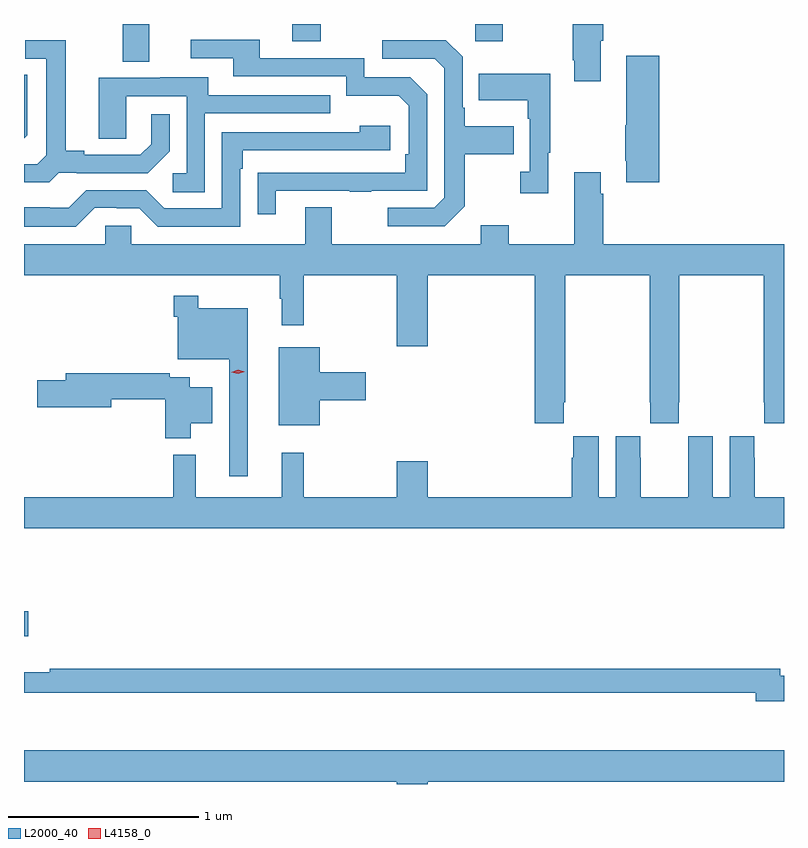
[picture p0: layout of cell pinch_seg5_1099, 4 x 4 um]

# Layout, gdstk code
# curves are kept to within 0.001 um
import gdstk
lib = gdstk.Library(unit=1e-6, precision=1e-09)
def R(c, l, rs):  # rectangles x0, y0, x1, y1
    for r in rs: c.add(gdstk.rectangle(r[:2], r[2:], *l))
def P(c, l, *ps):  # polygons
    for p in ps: c.add(gdstk.Polygon(p, *l))
L2000_40 = (2000, 40)
L4158_0 = (4158, 0)

pinch_seg5_1099 = lib.new_cell('pinch_seg5_1099')
R(pinch_seg5_1099, L2000_40, [(798.41,840.209,798.433,840.339), (798.929,843.232,799.069,843.431), (799.823,843.341,799.971,843.431), (800.784,843.341,800.931,843.431)])
P(pinch_seg5_1099, L2000_40, [(801.298,843.241),(801.305,843.241),(801.305,843.129),(801.445,843.129),(801.445,843.344),(801.458,843.344),(801.458,843.431),(801.298,843.431)],
  [(799.735,842.553),(800.125,842.553),(800.125,842.548),(800.237,842.548),(800.237,842.553),(800.532,842.553),(800.532,843.06),(800.442,843.15),(800.202,843.15),(800.202,843.252),(799.651,843.252),(799.651,843.348),(799.287,843.348),(799.287,843.252),(799.511,843.252),(799.511,843.156),(800.106,843.156),(800.106,843.053),(800.383,843.053),(800.436,843),(800.436,842.746),(800.416,842.746),(800.416,842.649),(799.639,842.648),(799.639,842.43),(799.735,842.43)],
  [(798.594,842.649),(798.688,842.649),(798.688,842.646),(799.06,842.646),(799.176,842.762),(799.176,842.956),(799.079,842.956),(799.079,842.799),(799.022,842.742),(798.727,842.742),(798.727,842.765),(798.631,842.765),(798.631,843.345),(798.417,843.345),(798.417,843.249),(798.527,843.249),(798.527,842.741),(798.48,842.694),(798.41,842.694),(798.41,842.597),(798.542,842.597)],
  [(800.731,842.473),(800.731,842.746),(800.987,842.746),(800.987,842.893),(800.731,842.893),(800.731,842.989),(800.718,842.989),(800.718,843.258),(800.631,843.345),(800.295,843.345),(800.295,843.249),(800.571,843.249),(800.622,843.198),(800.622,842.517),(800.568,842.463),(800.325,842.463),(800.325,842.367),(800.625,842.367)],
  [(801.754,843.265),(801.581,843.265),(801.581,842.899),(801.574,842.899),(801.574,842.71),(801.581,842.71),(801.581,842.598),(801.754,842.598)],
  [(801.169,842.753),(801.181,842.753),(801.181,843.169),(800.803,843.169),(800.803,843.029),(801.06,843.029),(801.06,842.933),(801.072,842.933),(801.072,842.654),(801.021,842.654),(801.021,842.541),(801.169,842.541)],
  [(798.426,842.846),(798.426,843.164),(798.41,843.164),(798.41,842.83)],
  [(799.362,842.961),(800.021,842.961),(800.021,843.057),(799.381,843.057),(799.381,843.151),(799.127,843.151),(799.127,843.147),(798.803,843.147),(798.803,842.827),(798.948,842.827),(798.948,843.051),(799.266,843.051),(799.266,842.646),(799.194,842.646),(799.194,842.545),(799.362,842.545)],
  [(798.783,842.463),(798.899,842.463),(798.899,842.46),(799.017,842.46),(799.113,842.364),(799.548,842.364),(799.548,842.669),(799.561,842.669),(799.561,842.766),(800.338,842.766),(800.338,842.896),(800.177,842.896),(800.177,842.862),(799.452,842.862),(799.452,842.46),(799.149,842.46),(799.053,842.556),(798.738,842.556),(798.645,842.463),(798.545,842.463),(798.545,842.467),(798.41,842.467),(798.41,842.363),(798.683,842.363)],
  [(801.098,841.329),(801.251,841.329),(801.251,841.441),(801.258,841.441),(801.258,842.108),(801.703,842.108),(801.703,841.441),(801.705,841.441),(801.705,841.329),(801.855,841.329),(801.855,841.441),(801.858,841.441),(801.858,842.108),(802.303,842.108),(802.303,841.441),(802.305,841.441),(802.305,841.329),(802.41,841.329),(802.41,842.272),(801.458,842.272),(801.458,842.537),(801.445,842.537),(801.445,842.65),(801.305,842.65),(801.305,842.272),(800.961,842.272),(800.961,842.371),(800.813,842.371),(800.813,842.272),(800.029,842.272),(800.029,842.467),(799.889,842.467),(799.889,842.272),(798.975,842.272),(798.975,842.37),(798.837,842.37),(798.837,842.272),(798.41,842.272),(798.41,842.108),(799.755,842.108),(799.755,841.985),(799.766,841.985),(799.766,841.845),(799.883,841.845),(799.883,842.108),(800.372,842.108),(800.372,841.734),(800.536,841.734),(800.536,842.108),(801.098,842.108)],
  [(799.588,841.936),(799.327,841.936),(799.327,842.002),(799.198,842.002),(799.198,841.889),(799.218,841.889),(799.218,841.667),(799.491,841.667),(799.491,841.05),(799.588,841.05)],
  [(799.966,841.451),(800.209,841.451),(800.209,841.598),(799.966,841.598),(799.966,841.729),(799.751,841.729),(799.751,841.319),(799.966,841.319)],
  [(799.288,841.331),(799.402,841.331),(799.402,841.519),(799.282,841.519),(799.282,841.572),(799.178,841.572),(799.178,841.592),(798.629,841.592),(798.629,841.556),(798.48,841.556),(798.48,841.414),(798.868,841.414),(798.868,841.456),(799.154,841.456),(799.154,841.25),(799.288,841.25)],
  [(802.41,840.94),(802.255,840.94),(802.255,841.148),(802.254,841.148),(802.254,841.261),(802.124,841.261),(802.124,840.94),(802.036,840.94),(802.036,841.261),(801.906,841.261),(801.906,841.148),(801.905,841.148),(801.905,840.94),(801.655,840.94),(801.655,841.148),(801.654,841.148),(801.654,841.261),(801.524,841.261),(801.524,840.94),(801.436,840.94),(801.436,841.261),(801.302,841.261),(801.302,841.148),(801.293,841.148),(801.293,840.94),(800.536,840.94),(800.536,841.129),(800.372,841.129),(800.372,840.94),(799.883,840.94),(799.883,841.174),(799.766,841.174),(799.766,840.94),(799.313,840.94),(799.313,841.165),(799.195,841.165),(799.195,840.94),(798.41,840.94),(798.41,840.776),(802.41,840.776)],
  [(802.41,840.002),(802.39,840.002),(802.39,840.038),(798.545,840.038),(798.545,840.02),(798.41,840.02),(798.41,839.91),(802.262,839.91),(802.262,839.867),(802.41,839.867)],
  [(800.536,839.444),(802.41,839.444),(802.41,839.608),(798.41,839.608),(798.41,839.444),(800.372,839.444),(800.372,839.431),(800.536,839.431)])
P(pinch_seg5_1099, L4158_0, [(799.538,841.59),(799.502,841.599),(799.502,841.599),(799.502,841.599),(799.537,841.61),(799.573,841.602),(799.573,841.602),(799.573,841.602)])

lib.write_gds('pinch_seg5_1099.gds')
